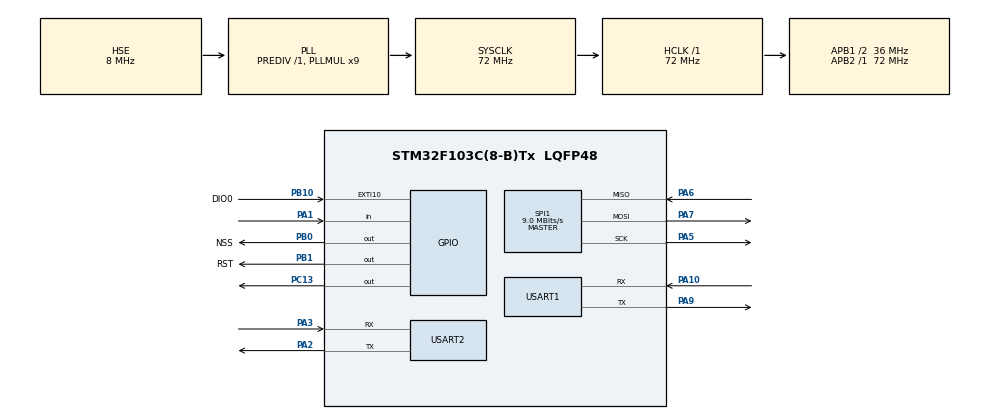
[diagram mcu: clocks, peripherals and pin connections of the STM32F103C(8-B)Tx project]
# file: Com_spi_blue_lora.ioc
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Mcu.Family=STM32F1
Mcu.Name=STM32F103C(8-B)Tx
Mcu.Package=LQFP48
NVIC.EXTI15_10_IRQn=true\:0\:0\:false\:false\:true\:true\:true\:true
NVIC.PriorityGroup=NVIC_PRIORITYGROUP_4
NVIC.USART1_IRQn=true\:0\:0\:false\:false\:true\:true\:true\:true
NVIC.USART2_IRQn=true\:0\:0\:false\:false\:true\:true\:true\:true
PA1.Signal=GPIO_Input
PA10.Mode=Asynchronous
PA10.Signal=USART1_RX
PA13.Mode=Serial_Wire
PA13.Signal=SYS_JTMS-SWDIO
PA14.Mode=Serial_Wire
PA14.Signal=SYS_JTCK-SWCLK
PA2.Mode=Asynchronous
PA2.Signal=USART2_TX
PA3.Mode=Asynchronous
PA3.Signal=USART2_RX
PA5.Mode=Full_Duplex_Master
PA5.Signal=SPI1_SCK
PA6.Mode=Full_Duplex_Master
PA6.Signal=SPI1_MISO
PA7.Mode=Full_Duplex_Master
PA7.Signal=SPI1_MOSI
PA9.Mode=Asynchronous
PA9.Signal=USART1_TX
PB0.GPIO_Label=NSS
PB0.PinState=GPIO_PIN_SET
PB0.Signal=GPIO_Output
PB1.GPIO_Label=RST
PB1.PinState=GPIO_PIN_SET
PB1.Signal=GPIO_Output
PB10.GPIO_Label=DIO0
PB10.Signal=GPXTI10
PC13-TAMPER-RTC.Signal=GPIO_Output
PD0-OSC_IN.Mode=HSE-External-Oscillator
PD0-OSC_IN.Signal=RCC_OSC_IN
PD1-OSC_OUT.Mode=HSE-External-Oscillator
PD1-OSC_OUT.Signal=RCC_OSC_OUT
ProjectManager.HeapSize=0x200
ProjectManager.StackSize=0x400
ProjectManager.TargetToolchain=MDK-ARM V4
RCC.AHBFreq_Value=72000000
RCC.APB1CLKDivider=RCC_HCLK_DIV2
RCC.APB1Freq_Value=36000000
RCC.APB1TimFreq_Value=72000000
RCC.APB2Freq_Value=72000000
RCC.APB2TimFreq_Value=72000000
RCC.HCLKFreq_Value=72000000
RCC.PLLMUL=RCC_PLL_MUL9
RCC.PLLSourceVirtual=RCC_PLLSOURCE_HSE
RCC.SYSCLKFreq_VALUE=72000000
RCC.SYSCLKSource=RCC_SYSCLKSOURCE_PLLCLK
RCC.USBFreq_Value=72000000
SPI1.BaudRatePrescaler=SPI_BAUDRATEPRESCALER_8
SPI1.CalculateBaudRate=9.0 MBits/s
SPI1.Direction=SPI_DIRECTION_2LINES
SPI1.Mode=SPI_MODE_MASTER
SPI1.VirtualType=VM_MASTER
USART1.VirtualMode=VM_ASYNC
USART2.VirtualMode=VM_ASYNC
board=custom

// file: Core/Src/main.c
/* USER CODE BEGIN Header */
/**
 ******************************************************************************
 * @file           : main.c
 * @brief          : Main program body
 ******************************************************************************
 * @attention
 *
 * Copyright (c) 2026 STMicroelectronics.
 * All rights reserved.
 *
 * This software is licensed under terms that can be found in the LICENSE file
 * in the root directory of this software component.
 * If no LICENSE file comes with this software, it is provided AS-IS.
 *
 ******************************************************************************
 */
/* USER CODE END Header */
#include "main.h"
#include "spi.h"
#include "usart.h"
#include "gpio.h"

/* USER CODE BEGIN Includes */
#include "Lora.h"
#include <string.h>
#include <stdio.h>

/* USER CODE END Includes */

/* USER CODE BEGIN PV */

uint8_t rx_byte;  // byte recibido por interrupcion
char rx_line[64]; // linea armada
volatile uint8_t rx_idx = 0;
volatile uint8_t line_ready = 0; // 1 = hay una linea completa
char tx_buf[100];
// Se llama cada vez que llega 1 byte por USART2

LoRa myLoRa;
uint8_t Lora_stat = 0;
char buf_tx[100];
char buf_rx[128];
uint8_t send_data[9] = {0x00, 0x01, 0x05, 0x02, 0x05, 0x06, 0x07, 0x08, 0x09};
uint8_t received_data[16]; // Buffer m�s grande para recibir comandos del maestro
uint8_t packet_size;
volatile uint8_t data_received_flag = 0; // Flag para indicar que se recibieron datos
uint32_t last_receive_time = 0;          // Timestamp de la �ltima recepci�n

// Variables para validaci�n de datos
uint8_t last_valid_packet[16];
// uint8_t packet_count = 0;
// uint8_t valid_packet_count = 0;
// uint8_t corrupted_packet_count = 0;
uint32_t last_valid_time = 0;

// Configuraci�n del esclavo
const uint8_t ESCLAVO_ID = 0x01; // ID de este esclavo
const uint8_t MAESTRO_ID = 0x00; // ID del maestro

// Variables para la trama:
uint8_t voltaje = 3;
uint8_t corriente = 2;
uint8_t potencia = 6;
uint8_t temperatura = 30;

// Declaracion de funciones
uint8_t is_valid_packet(uint8_t *data, uint8_t length);
void procesar_comando_esclavo(uint8_t *buffer, uint8_t length);

/* USER CODE END PV */

void SystemClock_Config(void);

/* USER CODE BEGIN 0 */
void HAL_UART_RxCpltCallback(UART_HandleTypeDef *huart)
{
  if (huart->Instance == USART2)
  {
    if (rx_byte == '\n')
    {
      if (rx_idx > 0)
      {
        rx_line[rx_idx] = '\0';
        line_ready = 1;
      }
      rx_idx = 0;
    }
    else if (rx_byte != '\r' && rx_idx < sizeof(rx_line) - 1)
    {
      rx_line[rx_idx++] = rx_byte;
    }

    // Volver a habilitar la recepcion del proximo byte
    HAL_UART_Receive_IT(&huart2, &rx_byte, 1);
  }
}

/* USER CODE END 0 */

int main(void)
{

  /* MCU Configuration--------------------------------------------------------*/

  /* Reset of all peripherals, Initializes the Flash interface and the Systick. */
  HAL_Init();

  /* Configure the system clock */
  SystemClock_Config();

  /* Initialize all configured peripherals */
  MX_GPIO_Init();
  MX_SPI1_Init();
  MX_USART1_UART_Init();
  MX_USART2_UART_Init();
  /* USER CODE BEGIN 2 */
  HAL_UART_Receive_IT(&huart2, &rx_byte, 1); // arrancar recepcion
  myLoRa = newLoRa();

  myLoRa.CS_port = NSS_GPIO_Port;
  myLoRa.CS_pin = NSS_Pin;
  myLoRa.reset_port = RST_GPIO_Port;
  myLoRa.reset_pin = RST_Pin;
  myLoRa.DIO0_port = DIO0_GPIO_Port;
  myLoRa.DIO0_pin = DIO0_Pin;
  myLoRa.hSPIx = &hspi1;

  myLoRa.frequency = 434;             // 433.92;             // default = 433 MHz
  myLoRa.spredingFactor = SF_7;       // Cambiar a SF_8 para mejor inmunidad a ruido
  myLoRa.bandWidth = BW_125KHz;       // default = BW_125KHz
  myLoRa.crcRate = CR_4_5;            // Cambiar a CR_4_8 para mejor correcci�n de errores
  myLoRa.power = POWER_17db;          // Reducir potencia para evitar interferencias
  myLoRa.overCurrentProtection = 100; // default = 100 mA
  myLoRa.preamble = 12;               // Aumentar pre�mbulo para mejor sincronizaci�n

  // LoRa_reset(&myLoRa);

  LoRa_reset(&myLoRa);

  if (LoRa_init(&myLoRa) == LORA_OK)
  {
    sprintf(buf_tx, "LoRa initialized successfully\r\n");
    HAL_UART_Transmit(&huart1, (uint8_t *)buf_tx, strlen(buf_tx), HAL_MAX_DELAY);
    Lora_stat = 1;
  }
  else
  {
    sprintf(buf_tx, "LoRa initialization failed\r\n");
    HAL_UART_Transmit(&huart1, (uint8_t *)buf_tx, strlen(buf_tx), HAL_MAX_DELAY);
    Lora_stat = 0;
  }

  // START CONTINUOUS RECEIVING -----------------------------------
  LoRa_startReceiving(&myLoRa);
  /* USER CODE END 2 */

  /* Infinite loop */
  /* USER CODE BEGIN WHILE */
  while (1)
  {

    if (data_received_flag)
    {
      data_received_flag = 0; // Limpiar flag

      // Intentar recibir los datos
      packet_size = LoRa_receive(&myLoRa, received_data, sizeof(received_data)); // HAY Q DESCOMENTARLO DESPUES

      if (packet_size > 0)
      {
        // Mostrar datos recibidos
        sprintf(buf_tx, "Received data (%d bytes): ", packet_size);
        for (int i = 0; i < packet_size; i++)
        {
          sprintf(buf_tx + strlen(buf_tx), "%02d ", received_data[i]);
        }
        sprintf(buf_tx + strlen(buf_tx), "\r\n");
        HAL_UART_Transmit(&huart1, (uint8_t *)buf_tx, strlen(buf_tx), HAL_MAX_DELAY);

        // Validar el paquete
        if (received_data[0] == 1)
        {
          // Enviar trama de datos:
          uint8_t respuesta[10];
          respuesta[0] = voltaje;
          respuesta[1] = corriente;
          respuesta[2] = potencia;
          respuesta[3] = temperatura;

          sprintf(buf_tx, "Enviando respuesta al maestro...\r\n");
          HAL_UART_Transmit(&huart1, (uint8_t *)buf_tx, strlen(buf_tx), HAL_MAX_DELAY);

          LoRa_transmit(&myLoRa, respuesta, 4, 2000);
          LoRa_startReceiving(&myLoRa);

          sprintf(buf_tx, "Respuesta enviada correctamente \r\n");
          HAL_UART_Transmit(&huart1, (uint8_t *)buf_tx, strlen(buf_tx), HAL_MAX_DELAY);
        }
      }
      else
      {
        sprintf(buf_tx, "Interrupcion pero sin datos validos\r\n");
        HAL_UART_Transmit(&huart1, (uint8_t *)buf_tx, strlen(buf_tx), HAL_MAX_DELAY);
      }
    }

    /* USER CODE END WHILE */

    /* USER CODE BEGIN 3 */
    if (line_ready)
    {
      line_ready = 0;

      int n = snprintf(tx_buf, sizeof(tx_buf), "CHAU (Datos recibidos: %d)\r\n", rx_line);
      HAL_UART_Transmit(&huart2, (uint8_t *)tx_buf, n, 100);

      HAL_GPIO_TogglePin(GPIOC, GPIO_PIN_13); // parpadea el LED
    }
  }
  /* USER CODE END 3 */
}

void SystemClock_Config(void)
{
  RCC_OscInitTypeDef RCC_OscInitStruct = {0};
  RCC_ClkInitTypeDef RCC_ClkInitStruct = {0};

  /** Initializes the RCC Oscillators according to the specified parameters
   * in the RCC_OscInitTypeDef structure.
   */
  RCC_OscInitStruct.OscillatorType = RCC_OSCILLATORTYPE_HSE;
  RCC_OscInitStruct.HSEState = RCC_HSE_ON;
  RCC_OscInitStruct.HSEPredivValue = RCC_HSE_PREDIV_DIV1;
  RCC_OscInitStruct.HSIState = RCC_HSI_ON;
  RCC_OscInitStruct.PLL.PLLState = RCC_PLL_ON;
  RCC_OscInitStruct.PLL.PLLSource = RCC_PLLSOURCE_HSE;
  RCC_OscInitStruct.PLL.PLLMUL = RCC_PLL_MUL9;
  if (HAL_RCC_OscConfig(&RCC_OscInitStruct) != HAL_OK)
  {
    Error_Handler();
  }

  /** Initializes the CPU, AHB and APB buses clocks
   */
  RCC_ClkInitStruct.ClockType = RCC_CLOCKTYPE_HCLK | RCC_CLOCKTYPE_SYSCLK | RCC_CLOCKTYPE_PCLK1 | RCC_CLOCKTYPE_PCLK2;
  RCC_ClkInitStruct.SYSCLKSource = RCC_SYSCLKSOURCE_PLLCLK;
  RCC_ClkInitStruct.AHBCLKDivider = RCC_SYSCLK_DIV1;
  RCC_ClkInitStruct.APB1CLKDivider = RCC_HCLK_DIV2;
  RCC_ClkInitStruct.APB2CLKDivider = RCC_HCLK_DIV1;

  if (HAL_RCC_ClockConfig(&RCC_ClkInitStruct, FLASH_LATENCY_2) != HAL_OK)
  {
    Error_Handler();
  }
}

/* USER CODE BEGIN 4 */
void HAL_GPIO_EXTI_Callback(uint16_t GPIO_Pin)
{

  // sprintf(buf_tx, "DIO0 interrupt - Data received\r\n");
  // HAL_UART_Transmit(&huart1, (uint8_t*)buf_tx, strlen(buf_tx), HAL_MAX_DELAY);
  if (GPIO_Pin == DIO0_Pin)
  {
    // Marcar que se recibieron datos
    data_received_flag = 1;
    last_receive_time = HAL_GetTick();

    sprintf(buf_tx, "DIO0 interrupt - Data received\r\n");
    HAL_UART_Transmit(&huart1, (uint8_t *)buf_tx, strlen(buf_tx), HAL_MAX_DELAY);
  }
}

// Funci�n para validar si un paquete es v�lido
uint8_t is_valid_packet(uint8_t *data, uint8_t length)
{
  // Validaciones b�sicas
  if (length < 3)
    return 0; // M�nimo 3 bytes

  // Formato del maestro: ID_ESCLAVO, ID_MAESTRO, COMANDO
  // Verificar si es un comando del maestro dirigido a este esclavo
  if (data[0] == 0x01) // ID de este esclavo (0x01)
  {
    if (data[1] == 0x00) // ID del maestro (0x00)
    {
      // Validar comando (deber�a ser un comando conocido)
      if (data[2] >= 0x01 && data[2] <= 0x0F) // Comandos v�lidos
      {
        return 1; // Paquete v�lido del maestro
      }
    }
  }

  // Verificar si es una respuesta de otro esclavo al maestro
  if (data[0] >= 0x02 && data[0] <= 0x0F) // ID de otro esclavo
  {
    if (data[1] == 0x00) // Dirigido al maestro
    {
      return 1; // Posible respuesta v�lida de otro esclavo
    }
  }

  return 0; // Paquete no v�lido
}
void procesar_comando_esclavo(uint8_t *buffer, uint8_t length)
{

  // Enviar respuesta
  uint8_t respuesta[10];
  respuesta[0] = MAESTRO_ID; // Para el maestro
  respuesta[1] = ESCLAVO_ID; // De este esclavo
  respuesta[2] = 0x05;       // CMD_RESPUESTA_DATOS
  sprintf(buf_tx, "Enviando respuesta al maestro...\r\n");
  HAL_UART_Transmit(&huart1, (uint8_t *)buf_tx, strlen(buf_tx), HAL_MAX_DELAY);

  LoRa_transmit(&myLoRa, respuesta, 10, 2000);
  LoRa_startReceiving(&myLoRa);

  sprintf(buf_tx, "Respuesta enviada correctamente \r\n");
  HAL_UART_Transmit(&huart1, (uint8_t *)buf_tx, strlen(buf_tx), HAL_MAX_DELAY);
}
/* USER CODE END 4 */

void Error_Handler(void)
{
  __disable_irq();
  while (1)
  {
  }
}
